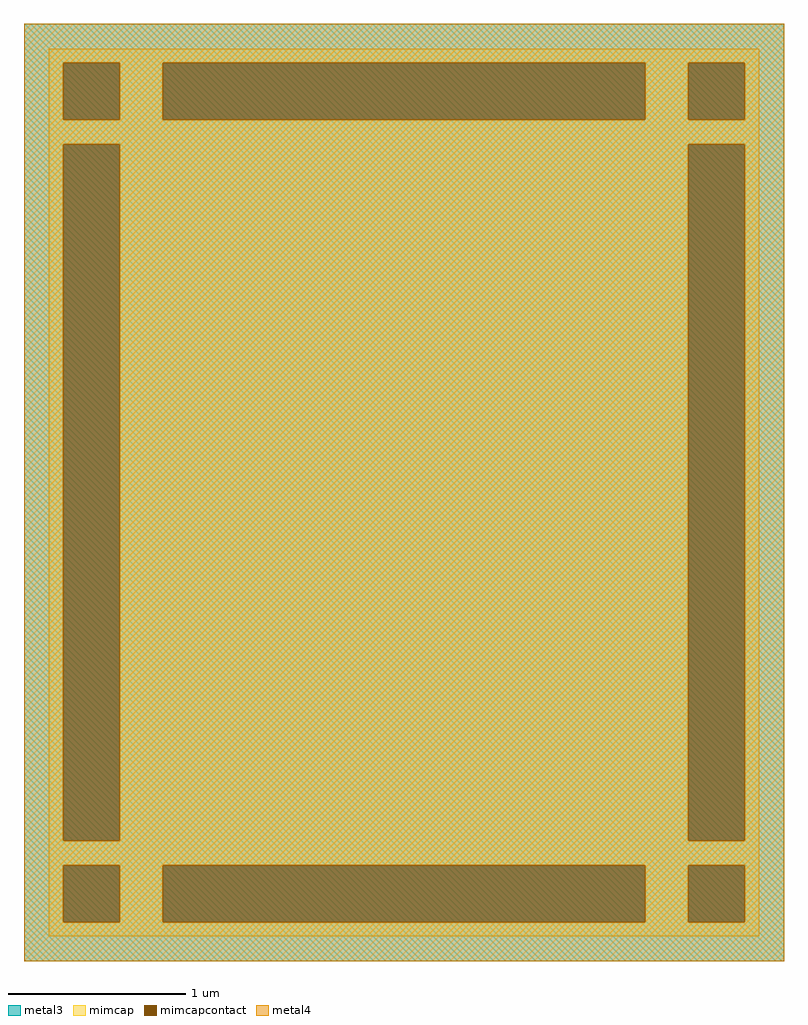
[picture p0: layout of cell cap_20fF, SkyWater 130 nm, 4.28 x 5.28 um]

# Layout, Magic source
magic
tech sky130B
<< metal3 >>
rect -14 -14 414 514
<< mimcap >>
rect 0 492 400 500
rect 0 460 8 492
rect 40 460 64 492
rect 336 460 360 492
rect 392 460 400 492
rect 0 446 400 460
rect 0 54 8 446
rect 40 54 360 446
rect 392 54 400 446
rect 0 40 400 54
rect 0 8 8 40
rect 40 8 64 40
rect 336 8 360 40
rect 392 8 400 40
rect 0 0 400 8
<< mimcapcontact >>
rect 8 460 40 492
rect 64 460 336 492
rect 360 460 392 492
rect 8 54 40 446
rect 360 54 392 446
rect 8 8 40 40
rect 64 8 336 40
rect 360 8 392 40
<< metal4 >>
rect -14 492 414 514
rect -14 460 8 492
rect 40 460 64 492
rect 336 460 360 492
rect 392 460 414 492
rect -14 446 414 460
rect -14 54 8 446
rect 40 54 360 446
rect 392 54 414 446
rect -14 40 414 54
rect -14 8 8 40
rect 40 8 64 40
rect 336 8 360 40
rect 392 8 414 40
rect -14 -14 414 8
<< end >>
